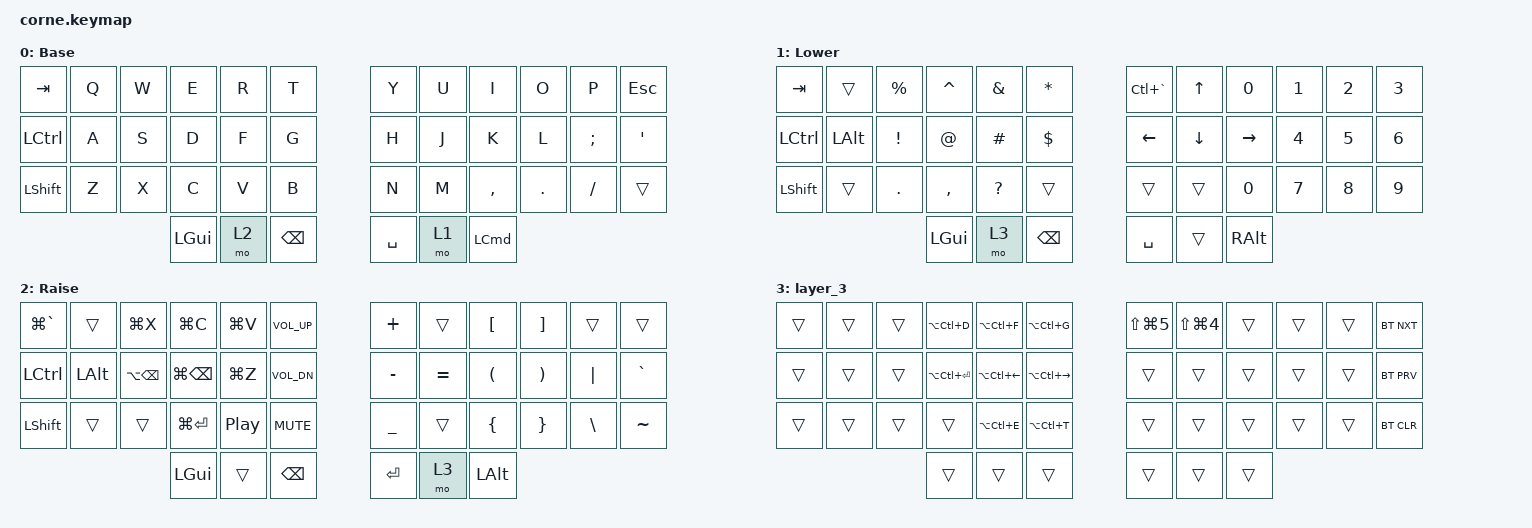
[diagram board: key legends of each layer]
/*
 * Copyright (c) 2020 The ZMK Contributors
 *
 * SPDX-License-Identifier: MIT
 */

#include <behaviors.dtsi>
#include <dt-bindings/zmk/bt.h>
#include <dt-bindings/zmk/keys.h>

/ {
    keymap {
        compatible = "zmk,keymap";

        default_layer {
            // -----------------------------------------------------------------------------------------
            // |  TAB |  Q  |  W  |  E  |  R  |  T  |   |  Y  |  U   |  I  |  O  |  P  | BKSP |
            // | CTRL |  A  |  S  |  D  |  F  |  G  |   |  H  |  J   |  K  |  L  |  ;  |  '   |
            // | SHFT |  Z  |  X  |  C  |  V  |  B  |   |  N  |  M   |  ,  |  .  |  /  | ESC  |
            //                    | GUI | LWR | SPC |   | ENT | RSE  | ALT |

            label = "Base";
            bindings = <
&kp TAB           &kp Q  &kp W  &kp E     &kp R  &kp T            &kp Y      &kp U  &kp I             &kp O    &kp P     &kp ESCAPE
&kp LEFT_CONTROL  &kp A  &kp S  &kp D     &kp F  &kp G            &kp H      &kp J  &kp K             &kp L    &kp SEMI  &kp SQT
&kp LEFT_SHIFT    &kp Z  &kp X  &kp C     &kp V  &kp B            &kp N      &kp M  &kp COMMA         &kp DOT  &kp FSLH  &trans
                                &kp LGUI  &mo 2  &kp BACKSPACE    &kp SPACE  &mo 1  &kp LEFT_COMMAND
            >;
        };

        lower_layer {
            // -----------------------------------------------------------------------------------------
            // |  TAB |  1  |  2  |  3  |  4  |  5  |   |  6  |  7  |  8  |  9  |  0  | BKSP |
            // | BTCLR| BT1 | BT2 | BT3 | BT4 | BT6 |   | LFT | DWN |  UP | RGT |     |      |
            // | SHFT |     |     |     |     |     |   |     |     |     |     |     |      |
            //                    | GUI |     | SPC |   | ENT |     | ALT |

            label = "Lower";
            bindings = <
&kp TAB           &trans        &kp PERCENT      &kp CARET    &kp AMPERSAND  &kp ASTERISK     &kp LC(GRAVE)   &kp UP_ARROW    &kp NUMBER_0     &kp NUMBER_1  &kp NUMBER_2  &kp NUMBER_3
&kp LEFT_CONTROL  &kp LEFT_ALT  &kp EXCLAMATION  &kp AT_SIGN  &kp HASH       &kp DOLLAR       &kp LEFT_ARROW  &kp DOWN_ARROW  &kp RIGHT_ARROW  &kp NUMBER_4  &kp NUMBER_5  &kp NUMBER_6
&kp LEFT_SHIFT    &trans        &kp PERIOD       &kp COMMA    &kp QUESTION   &trans           &trans          &trans          &kp NUMBER_0     &kp NUMBER_7  &kp NUMBER_8  &kp NUMBER_9
                                                 &kp LGUI     &mo 3          &kp BACKSPACE    &kp SPACE       &trans          &kp RALT
            >;
        };

        raise_layer {
            // -----------------------------------------------------------------------------------------
            // |  TAB |  !  |  @  |  #  |  $  |  %  |   |  ^  |  &  |  *  |  (  |  )  | BKSP |
            // | CTRL |     |     |     |     |     |   |  -  |  =  |  [  |  ]  |  \  |  `   |
            // | SHFT |     |     |     |     |     |   |  _  |  +  |  {  |  }  | "|" |  ~   |
            //                    | GUI |     | SPC |   | ENT |     | ALT |

            label = "Raise";
            bindings = <
&kp LG(GRAVE)     &trans        &kp LG(X)          &kp LG(C)          &kp LG(V)         &kp C_VOLUME_UP    &kp PLUS   &trans     &kp LEFT_BRACKET      &kp RIGHT_BRACKET      &trans         &trans
&kp LEFT_CONTROL  &kp LEFT_ALT  &kp LA(BACKSPACE)  &kp LG(BACKSPACE)  &kp LG(Z)         &kp C_VOL_DN       &kp MINUS  &kp EQUAL  &kp LEFT_PARENTHESIS  &kp RIGHT_PARENTHESIS  &kp PIPE       &kp GRAVE
&kp LEFT_SHIFT    &trans        &trans             &kp LG(ENTER)      &kp C_PLAY_PAUSE  &kp K_MUTE         &kp UNDER  &trans     &kp LBRC              &kp RBRC               &kp BACKSLASH  &kp TILDE
                                                   &kp LGUI           &trans            &kp BACKSPACE      &kp RET    &mo 3      &kp LEFT_ALT
            >;
        };

        layer_3 {
            bindings = <
&trans  &trans  &trans  &kp LA(LC(D))      &kp LA(LC(F))           &kp LA(LC(G))        &kp LS(LG(NUMBER_5))  &kp LS(LG(NUMBER_4))  &trans  &trans  &trans  &bt BT_NXT
&trans  &trans  &trans  &kp LA(LC(ENTER))  &kp LA(LC(LEFT_ARROW))  &kp LA(LC(RIGHT))    &trans                &trans                &trans  &trans  &trans  &bt BT_PRV
&trans  &trans  &trans  &trans             &kp LA(LC(E))           &kp LA(LC(T))        &trans                &trans                &trans  &trans  &trans  &bt BT_CLR
                        &trans             &trans                  &trans               &trans                &trans                &trans
            >;
        };
    };
};
